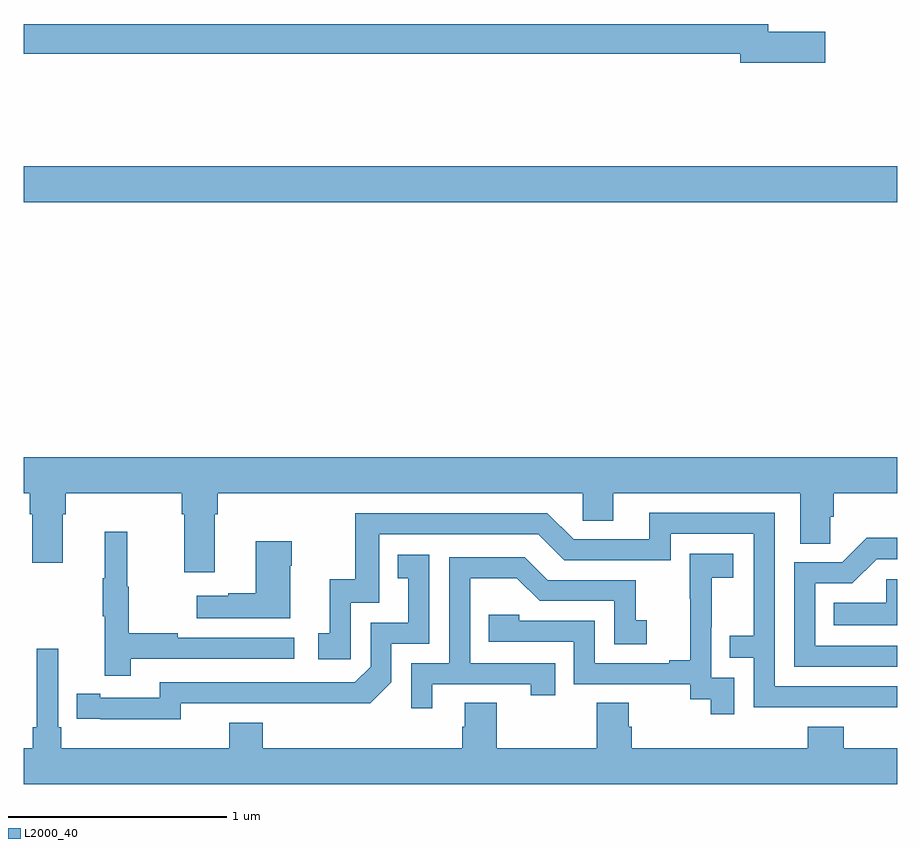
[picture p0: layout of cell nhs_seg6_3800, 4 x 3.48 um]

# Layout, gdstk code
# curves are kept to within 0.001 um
import gdstk
lib = gdstk.Library(unit=1e-6, precision=1e-09)
def R(c, l, rs):  # rectangles x0, y0, x1, y1
    for r in rs: c.add(gdstk.rectangle(r[:2], r[2:], *l))
def P(c, l, *ps):  # polygons
    for p in ps: c.add(gdstk.Polygon(p, *l))
L2000_40 = (2000, 40)

nhs_seg6_3800 = lib.new_cell('nhs_seg6_3800')
R(nhs_seg6_3800, L2000_40, [(335,956.66,339,956.824)])
P(nhs_seg6_3800, L2000_40, [(338.671,957.44),(338.41,957.44),(338.41,957.476),(335,957.476),(335,957.34),(338.282,957.34),(338.282,957.298),(338.671,957.298)],
  [(335.875,955.232),(335.888,955.232),(335.888,955.328),(337.56,955.328),(337.56,955.201),(337.699,955.201),(337.699,955.328),(338.555,955.328),(338.555,955.096),(338.694,955.096),(338.694,955.219),(338.708,955.219),(338.708,955.328),(339,955.328),(339,955.492),(335,955.492),(335,955.328),(335.027,955.328),(335.027,955.232),(335.039,955.232),(335.039,955.008),(335.179,955.008),(335.179,955.232),(335.192,955.232),(335.192,955.328),(335.723,955.328),(335.723,955.232),(335.735,955.232),(335.735,954.966),(335.875,954.966)],
  [(339,954.444),(338.439,954.444),(338.439,955.239),(337.865,955.239),(337.865,955.116),(337.518,955.116),(337.398,955.236),(336.519,955.236),(336.519,954.934),(336.401,954.934),(336.401,954.687),(336.348,954.687),(336.348,954.567),(336.498,954.567),(336.498,954.825),(336.627,954.825),(336.627,955.14),(337.356,955.14),(337.476,955.02),(337.962,955.02),(337.962,955.143),(338.343,955.143),(338.343,954.674),(338.233,954.674),(338.233,954.573),(338.343,954.573),(338.343,954.348),(339,954.347)],
  [(335.489,954.57),(336.238,954.57),(336.238,954.666),(335.705,954.666),(335.705,954.686),(335.482,954.686),(335.482,954.9),(335.474,954.9),(335.474,955.15),(335.372,955.15),(335.372,954.937),(335.361,954.937),(335.361,954.763),(335.372,954.763),(335.372,954.492),(335.489,954.492)],
  [(339,954.63),(338.625,954.63),(338.625,954.915),(338.794,954.915),(338.905,955.026),(339,955.026),(339,955.124),(338.861,955.124),(338.748,955.011),(338.529,955.011),(338.529,954.534),(339,954.534)],
  [(336.22,954.995),(336.228,954.995),(336.228,955.108),(336.062,955.108),(336.062,954.869),(335.936,954.869),(335.936,954.859),(335.793,954.859),(335.793,954.755),(336.22,954.755)],
  [(338.253,954.483),(338.148,954.483),(338.148,954.713),(338.15,954.713),(338.15,954.941),(338.248,954.941),(338.248,955.051),(338.05,955.051),(338.05,954.845),(338.051,954.845),(338.051,954.562),(337.955,954.562),(337.955,954.549),(337.614,954.549),(337.614,954.744),(337.269,954.744),(337.269,954.771),(337.129,954.771),(337.129,954.648),(337.518,954.648),(337.518,954.453),(338.052,954.453),(338.052,954.385),(338.145,954.385),(338.145,954.315),(338.253,954.315)],
  [(335.718,954.366),(336.586,954.365),(336.684,954.462),(336.684,954.639),(336.858,954.639),(336.858,955.045),(336.712,955.045),(336.712,954.939),(336.761,954.939),(336.761,954.735),(336.588,954.735),(336.588,954.534),(336.516,954.462),(335.622,954.462),(335.622,954.39),(335.35,954.39),(335.35,954.41),(335.242,954.41),(335.242,954.294),(335.718,954.293)],
  [(336.871,954.453),(337.322,954.453),(337.322,954.402),(337.433,954.402),(337.433,954.549),(337.044,954.549),(337.044,954.938),(337.258,954.938),(337.362,954.834),(337.704,954.834),(337.704,954.636),(337.852,954.636),(337.852,954.745),(337.803,954.745),(337.803,954.93),(337.399,954.93),(337.294,955.035),(336.948,955.035),(336.948,954.549),(336.774,954.549),(336.774,954.342),(336.871,954.342)],
  [(339,954.934),(338.949,954.934),(338.949,954.826),(338.71,954.826),(338.71,954.722),(339,954.722)],
  [(339,954.16),(338.756,954.16),(338.756,954.259),(338.591,954.259),(338.591,954.16),(337.784,954.16),(337.784,954.258),(337.771,954.258),(337.771,954.368),(337.624,954.368),(337.624,954.16),(337.167,954.16),(337.167,954.368),(337.019,954.368),(337.019,954.258),(337.007,954.258),(337.007,954.16),(336.095,954.16),(336.095,954.277),(335.942,954.277),(335.942,954.16),(335.171,954.16),(335.171,954.256),(335.157,954.256),(335.157,954.616),(335.06,954.616),(335.06,954.256),(335.041,954.256),(335.041,954.16),(335,954.16),(335,953.996),(339,953.996)])

lib.write_gds('nhs_seg6_3800.gds')
